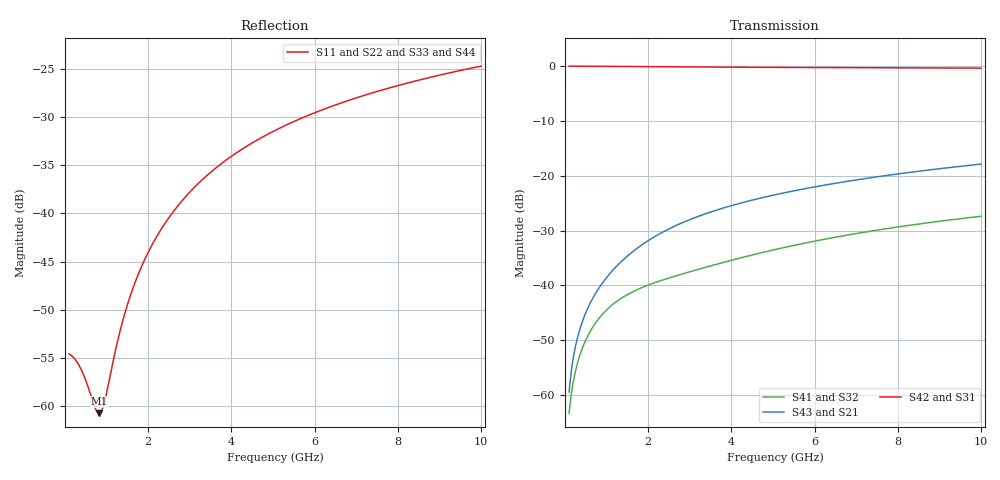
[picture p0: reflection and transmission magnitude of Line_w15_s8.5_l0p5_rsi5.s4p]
! TOUCHSTONE file generated by CST MICROWAVE STUDIO
! Date and time: Wed Oct 15 14:02:16 2014
! Project name: Untitled_1.cst
# GHZ S MA R 50
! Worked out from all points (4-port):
!   1001 points, 100 MHz to 10 GHz, reference 50 ohm
!   strongest paths, dB at 100 MHz, 2.575 GHz, 5.05 GHz, 7.525 GHz, 10 GHz:
!     S42: 0.0, -0.1, -0.2, -0.3, -0.4
!     S31: 0.0, -0.1, -0.2, -0.3, -0.4
!     S43: -59.5, -29.4, -23.5, -20.2, -17.9
!     S21: -59.5, -29.4, -23.5, -20.2, -17.9
!     S41: -63.3, -38.5, -33.5, -29.9, -27.4
!     S32: -63.3, -38.5, -33.5, -29.9, -27.4
!   lowest |S11| = -60.7 dB at 822.7 MHz (marker M1), VSWR 1.00, Z = 50 - j0.0914 ohm
!   |S11| at or under -10 dB: start of sweep to end of sweep
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0.1  0.001869 -5.2  0.001064 90.8  0.9981 -0.2  0.0006803 -91.9
     0.001064 90.8  0.001869 -5.3  0.0006803 -91.9  0.9981 -0.2
     0.9981 -0.2  0.0006803 -91.9  0.001869 -5.2  0.001064 90.8
     0.0006803 -91.9  0.9981 -0.2  0.001064 90.8  0.001869 -5.3
0.3673  0.001588 -24.6  0.004085 93.4  0.9974 -0.8  0.002358 -97.3
        0.004085 93.4  0.001591 -24.8  0.002358 -97.3  0.9974 -0.8
        0.9974 -0.8  0.002358 -97.3  0.001588 -24.5  0.004085 93.4
        0.002358 -97.3  0.9974 -0.8  0.004085 93.4  0.001591 -24.8
0.8227  0.0009205 -96.6  0.009515 94.7  0.9952 -1.8  0.005026 -103.1
        0.009515 94.7  0.0009327 -96.3  0.005025 -103.1  0.9952 -1.8
        0.9952 -1.8  0.005026 -103.1  0.0009165 -96.4  0.009515 94.7
        0.005026 -103.1  0.9952 -1.8  0.009514 94.7  0.0009335 -96.3
1.8622  0.00543 157.5  0.02359 93.3  0.9885 -3.9  0.00958 -110.8
        0.02359 93.3  0.005407 157.8  0.00958 -110.8  0.9885 -3.9
        0.9885 -3.9  0.00958 -110.8  0.00543 157.5  0.02359 93.3
        0.00958 -110.8  0.9885 -3.9  0.02359 93.3  0.005411 157.8
3.3472  0.01525 128.8  0.04452 87.6  0.98 -6.4  0.01449 -109.8
        0.04452 87.6  0.01519 129.0  0.01449 -109.8  0.98 -6.4
        0.98 -6.4  0.01449 -109.8  0.01526 128.9  0.04452 87.6
        0.01449 -109.8  0.98 -6.4  0.04452 87.6  0.0152 129.0
5.9311  0.03272 105.2  0.07818 80.2  0.9701 -10.6  0.02499 -109.1
        0.07818 80.2  0.03258 105.3  0.02499 -109.1  0.9701 -10.6
        0.9701 -10.6  0.02499 -109.1  0.03273 105.3  0.07818 80.2
        0.02499 -109.1  0.9701 -10.6  0.07818 80.2  0.0326 105.3
10  0.05787 85.1  0.1277 72.2  0.958 -17.0  0.04266 -117.3
    0.1277 72.2  0.05763 85.1  0.04266 -117.3  0.958 -17.1
    0.958 -17.0  0.04266 -117.3  0.05788 85.1  0.1277 72.2
    0.04266 -117.3  0.958 -17.1  0.1277 72.2  0.05767 85.2
